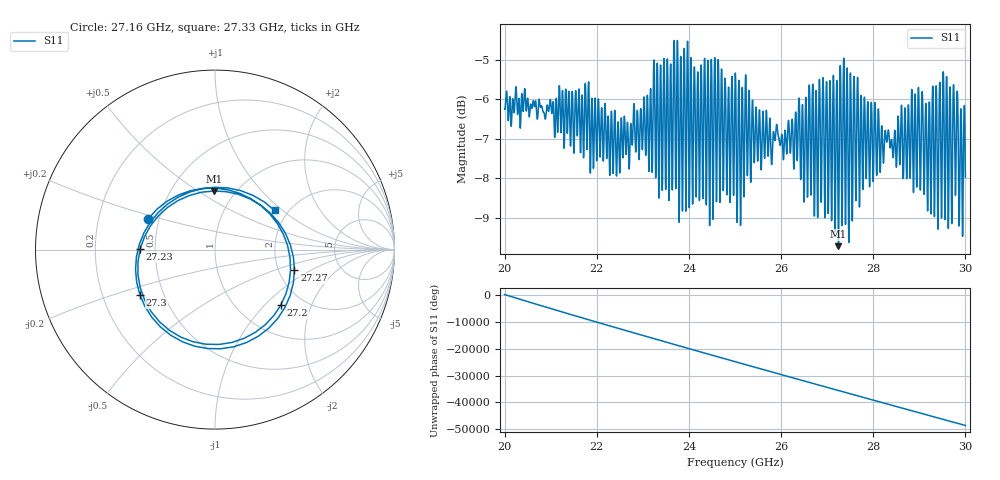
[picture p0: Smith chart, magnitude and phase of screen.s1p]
#  HZ  S  RI  R  50.00
! Rohde & Schwarz ZVA40 4Ports - Version 3.90 - 1145.1110k42 SN: 100403
! Date: 2023-09-28 11:42:42
! Measurement: S22
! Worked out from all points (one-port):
!   5001 points, 20 GHz to 30 GHz, reference 50 ohm
!   lowest |S11| = -9.7 dB at 27.25 GHz (marker M1), VSWR 1.97, Z = 39.9 + j29.2 ohm
!   |S11| at or under -10 dB: nowhere
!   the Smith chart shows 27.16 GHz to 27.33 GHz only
!   S11 on the Smith chart (normalised r, x): 27.16 GHz: 0.43, +0.18; 27.2 GHz: 1.55, -1.25; 27.23 GHz: 0.41, +0.00; 27.27 GHz: 2.44, -0.70; 27.3 GHz: 0.37, -0.24; 27.33 GHz: 1.70, +0.88
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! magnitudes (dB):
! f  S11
! 20 GHz  -6.2
! 21.25 GHz  -5.9
! 22.5 GHz  -7.8
! 23.28 GHz  -7.9
! 23.6 GHz  -5.1
! 23.71 GHz  -8.2
! 23.75 GHz  -4.5
! 24.38 GHz  -8.7
! 24.49 GHz  -5.0
! 24.6 GHz  -8.6
! 25 GHz  -5.6
! 26.25 GHz  -6.6
! 27.16 GHz  -7.7
! 27.2 GHz  -6.4
! 27.23 GHz  -7.6
! 27.25 GHz  -9.7
! 27.27 GHz  -6.8
! 27.3 GHz  -6.2
! 27.33 GHz  -8.0
! 27.5 GHz  -5.4
! 27.62 GHz  -8.6
! 28.75 GHz  -6.6
! 29.37 GHz  -5.7
! 29.56 GHz  -9.0
! 29.67 GHz  -5.7
! 29.78 GHz  -8.4
! 29.9 GHz  -6.2
! 30 GHz  -8.0
